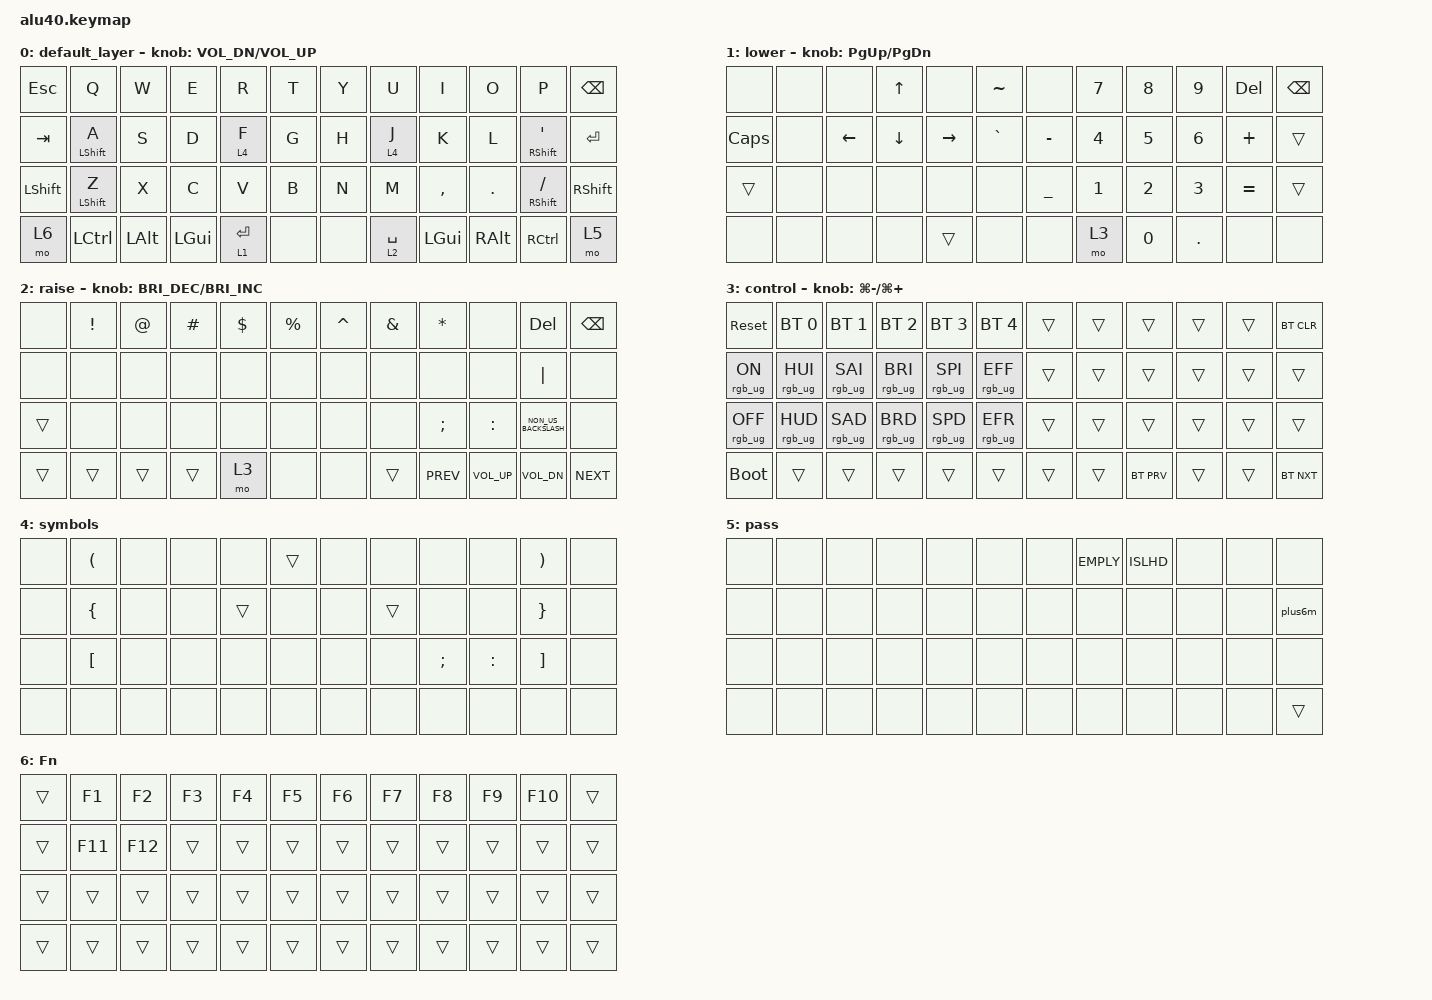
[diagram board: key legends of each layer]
/*
 * Copyright (c) 2022 The ZMK Contributors
 *
 * SPDX-License-Identifier: MIT
 */

#include <behaviors.dtsi>
#include <dt-bindings/zmk/bt.h>
#include <dt-bindings/zmk/keys.h>
#include <dt-bindings/zmk/rgb.h>

/ {
    macros {
        EMPLY: EMPLY {
            compatible = "zmk,behavior-macro";
            #binding-cells = <0>;
            bindings = <&none &kp N5 &kp N3 &kp N8 &kp N0 &kp N0 &kp N4 &kp N3 &kp N3>;
            label = "EMPLY";
        };

        plus6m: plus6m {
            compatible = "zmk,behavior-macro";
            #binding-cells = <0>;
            bindings = <&none &kp PLUS &kp N6 &kp M>;
            label = "PLUS6M";
        };

        ISLHD: ISLHD {
            compatible = "zmk,behavior-macro";
            #binding-cells = <0>;
            bindings = <&kp M &kp O &kp N &kp D &kp A &kp Y &kp PERIOD &kp NUMBER_8>;
            label = "ISLHD";
        };
    };

    keymap {
        compatible = "zmk,keymap";

        default_layer {
            // -----------------------------------------------------------------------------------------
            // | ESC/~ |  Q   |  W   |  E   |  R   |  T   |   Y   |  U    |  I   |  O   |   P   | BSPC  |
            // | TAB   |  A   |  S   |  D   |  F   |  G   |   H   |  J    |  K   |  L   |   "   | ENTR  |
            // | SHIFT |  Z   |  X   |  C   |  V   |  B   |   N   |  M    |  ,   |  .   |   /   |  SFT  |
            // | MO(6) | LCTL | LALT | LGUI |    LOWR     |     RAIS      | RGUI | RALT | RCTL  | MO(5) |

            bindings = <
&kp ESC    &kp Q             &kp W     &kp E     &kp R        &kp T  &kp Y  &kp U        &kp I         &kp O          &kp P                 &kp BSPC
&kp TAB    &mt LEFT_SHIFT A  &kp S     &kp D     &lt 4 F      &kp G  &kp H  &lt 4 J      &kp K         &kp L          &mt RIGHT_SHIFT SQT   &kp ENTER
&kp LSHFT  &mt LEFT_SHIFT Z  &kp X     &kp C     &kp V        &kp B  &kp N  &kp M        &kp COMMA     &kp DOT        &mt RIGHT_SHIFT FSLH  &kp RIGHT_SHIFT
&mo 6      &kp LCTRL         &kp LALT  &kp LGUI  &lt 1 ENTER  &none  &none  &lt 2 SPACE  &kp LEFT_GUI  &kp RIGHT_ALT  &kp RCTRL             &mo 5
            >;

            sensor-bindings = <&inc_dec_kp C_VOL_DN C_VOL_UP>;
        };

        lower {
            bindings = <
&none     &none  &none     &kp UP_ARROW    &none            &kp TILDE  &none      &kp NUMBER_7  &kp NUMBER_8  &kp NUMBER_9  &kp DELETE  &kp BACKSPACE
&kp CLCK  &none  &kp LEFT  &kp DOWN_ARROW  &kp RIGHT_ARROW  &kp GRAVE  &kp MINUS  &kp NUMBER_4  &kp NUMBER_5  &kp NUMBER_6  &kp PLUS    &trans
&trans    &none  &none     &none           &none            &none      &kp UNDER  &kp NUMBER_1  &kp NUMBER_2  &kp NUMBER_3  &kp EQUAL   &trans
&none     &none  &none     &none           &trans           &none      &none      &mo 3         &kp NUMBER_0  &kp DOT       &none       &none
            >;

            sensor-bindings = <&inc_dec_kp PG_UP PG_DN>;
        };

        raise {
            bindings = <
&none   &kp EXCL  &kp AT  &kp HASH  &kp DOLLAR  &kp PERCENT  &kp CARET  &kp AMPS  &kp ASTRK   &none         &kp DEL               &kp BSPC
&none   &none     &none   &none     &none       &none        &none      &none     &none       &none         &kp PIPE              &none
&trans  &none     &none   &none     &none       &none        &none      &none     &kp SEMI    &kp COLON     &kp NON_US_BACKSLASH  &none
&trans  &trans    &trans  &trans    &mo 3       &none        &none      &trans    &kp C_PREV  &kp C_VOL_UP  &kp C_VOL_DN          &kp C_NEXT
            >;

            sensor-bindings = <&inc_dec_kp C_BRI_DEC C_BRI_INC>;
        };

        control {
            bindings = <
&sys_reset       &bt BT_SEL 0     &bt BT_SEL 1     &bt BT_SEL 2     &bt BT_SEL 3     &bt BT_SEL 4     &trans  &trans  &trans      &trans  &trans  &bt BT_CLR
&rgb_ug RGB_ON   &rgb_ug RGB_HUI  &rgb_ug RGB_SAI  &rgb_ug RGB_BRI  &rgb_ug RGB_SPI  &rgb_ug RGB_EFF  &trans  &trans  &trans      &trans  &trans  &trans
&rgb_ug RGB_OFF  &rgb_ug RGB_HUD  &rgb_ug RGB_SAD  &rgb_ug RGB_BRD  &rgb_ug RGB_SPD  &rgb_ug RGB_EFR  &trans  &trans  &trans      &trans  &trans  &trans
&bootloader      &trans           &trans           &trans           &trans           &trans           &trans  &trans  &bt BT_PRV  &trans  &trans  &bt BT_NXT
            >;

            sensor-bindings = <&inc_dec_kp LG(MINUS) LG(PLUS)>;
        };

        symbols {
            bindings = <
&none  &kp LEFT_PARENTHESIS  &none  &none  &none   &trans  &none  &none   &none     &none      &kp RIGHT_PARENTHESIS  &none
&none  &kp LEFT_BRACE        &none  &none  &trans  &none   &none  &trans  &none     &none      &kp RIGHT_BRACE        &none
&none  &kp LEFT_BRACKET      &none  &none  &none   &none   &none  &none   &kp SEMI  &kp COLON  &kp RIGHT_BRACKET      &none
&none  &none                 &none  &none  &none   &none   &none  &none   &none     &none      &none                  &none
            >;
        };

        pass {
            bindings = <
&none  &none  &none  &none  &none  &none  &none  &EMPLY  &ISLHD  &none  &none  &none
&none  &none  &none  &none  &none  &none  &none  &none   &none   &none  &none  &plus6m
&none  &none  &none  &none  &none  &none  &none  &none   &none   &none  &none  &none
&none  &none  &none  &none  &none  &none  &none  &none   &none   &none  &none  &trans
            >;
        };

        Fn {
            bindings = <
&trans  &kp F1   &kp F2   &kp F3  &kp F4  &kp F5  &kp F6  &kp F7  &kp F8  &kp F9  &kp F10  &trans
&trans  &kp F11  &kp F12  &trans  &trans  &trans  &trans  &trans  &trans  &trans  &trans   &trans
&trans  &trans   &trans   &trans  &trans  &trans  &trans  &trans  &trans  &trans  &trans   &trans
&trans  &trans   &trans   &trans  &trans  &trans  &trans  &trans  &trans  &trans  &trans   &trans
            >;
        };
    };
};
